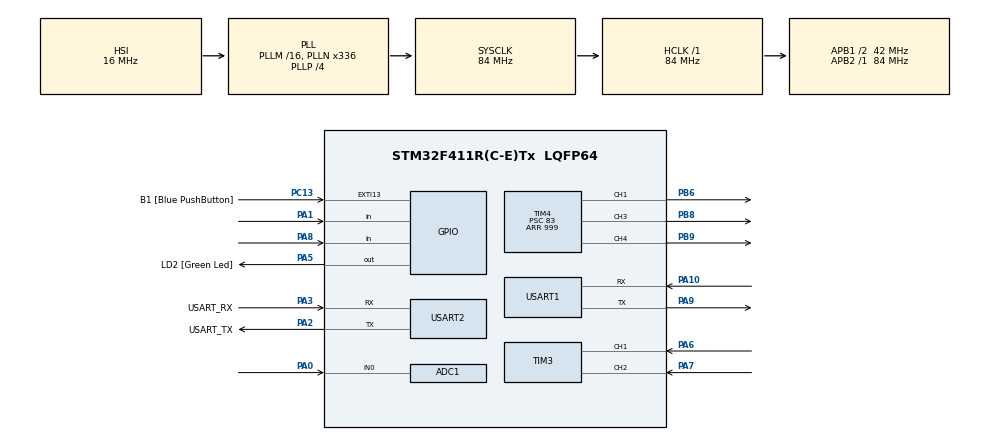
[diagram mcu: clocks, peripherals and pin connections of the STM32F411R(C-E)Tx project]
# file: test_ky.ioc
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ADC1.Channel-0\#ChannelRegularConversion=ADC_CHANNEL_0
ADC1.NbrOfConversionFlag=1
ADC1.Rank-0\#ChannelRegularConversion=1
ADC1.SamplingTime-0\#ChannelRegularConversion=ADC_SAMPLETIME_84CYCLES
ADC1.master=1
Mcu.Family=STM32F4
Mcu.Name=STM32F411R(C-E)Tx
Mcu.Package=LQFP64
NVIC.PriorityGroup=NVIC_PRIORITYGROUP_0
NVIC.USART1_IRQn=true\:0\:0\:false\:false\:true\:true\:true\:true
PA0-WKUP.Signal=ADCx_IN0
PA1.Signal=GPIO_Input
PA10.Mode=Asynchronous
PA10.Signal=USART1_RX
PA13.GPIO_Label=TMS
PA13.Mode=Serial_Wire
PA13.Signal=SYS_JTMS-SWDIO
PA14.GPIO_Label=TCK
PA14.Mode=Serial_Wire
PA14.Signal=SYS_JTCK-SWCLK
PA2.GPIO_Label=USART_TX
PA2.Mode=Asynchronous
PA2.Signal=USART2_TX
PA3.GPIO_Label=USART_RX
PA3.Mode=Asynchronous
PA3.Signal=USART2_RX
PA5.GPIO_Label=LD2 [Green Led]
PA5.Signal=GPIO_Output
PA6.Signal=S_TIM3_CH1
PA7.Signal=S_TIM3_CH2
PA8.GPIO_PuPd=GPIO_PULLUP
PA8.Signal=GPIO_Input
PA9.Mode=Asynchronous
PA9.Signal=USART1_TX
PB3.GPIO_Label=SWO
PB3.Signal=SYS_JTDO-SWO
PB6.Signal=S_TIM4_CH1
PB8.Signal=S_TIM4_CH3
PB9.Signal=S_TIM4_CH4
PC13-ANTI_TAMP.GPIO_Label=B1 [Blue PushButton]
PC13-ANTI_TAMP.GPIO_ModeDefaultEXTI=GPIO_MODE_IT_FALLING
PC13-ANTI_TAMP.Signal=GPXTI13
PC14-OSC32_IN.Mode=LSE-External-Oscillator
PC14-OSC32_IN.Signal=RCC_OSC32_IN
PC15-OSC32_OUT.Mode=LSE-External-Oscillator
PC15-OSC32_OUT.Signal=RCC_OSC32_OUT
PH0\ -\ OSC_IN.Mode=HSE-External-Clock-Source
PH0\ -\ OSC_IN.Signal=RCC_OSC_IN
PH1\ -\ OSC_OUT.Mode=HSE-External-Clock-Source
PH1\ -\ OSC_OUT.Signal=RCC_OSC_OUT
ProjectManager.HeapSize=0x200
ProjectManager.StackSize=0x400
ProjectManager.TargetToolchain=STM32CubeIDE
RCC.48MHZClocksFreq_Value=84000000
RCC.AHBFreq_Value=84000000
RCC.APB1CLKDivider=RCC_HCLK_DIV2
RCC.APB1Freq_Value=42000000
RCC.APB1TimFreq_Value=84000000
RCC.APB2Freq_Value=84000000
RCC.APB2TimFreq_Value=84000000
RCC.CortexFreq_Value=84000000
RCC.FLatency-AdvancedSettings=FLASH_LATENCY_2
RCC.HCLKFreq_Value=84000000
RCC.HSE_VALUE=8000000
RCC.HSI_VALUE=16000000
RCC.PLLN=336
RCC.PLLP=RCC_PLLP_DIV4
RCC.SYSCLKFreq_VALUE=84000000
RCC.SYSCLKSource=RCC_SYSCLKSOURCE_PLLCLK
RCC.VCOOutputFreq_Value=336000000
SH.ADCx_IN0.0=ADC1_IN0,IN0
SH.S_TIM3_CH1.0=TIM3_CH1,Encoder_Interface
SH.S_TIM3_CH2.0=TIM3_CH2,Encoder_Interface
SH.S_TIM4_CH1.0=TIM4_CH1,PWM Generation1 CH1
SH.S_TIM4_CH3.0=TIM4_CH3,PWM Generation3 CH3
SH.S_TIM4_CH4.0=TIM4_CH4,PWM Generation4 CH4
TIM3.EncoderMode=TIM_ENCODERMODE_TI12
TIM3.IC1Filter=15
TIM4.Channel-PWM\ Generation1\ CH1=TIM_CHANNEL_1
TIM4.Channel-PWM\ Generation3\ CH3=TIM_CHANNEL_3
TIM4.Channel-PWM\ Generation4\ CH4=TIM_CHANNEL_4
TIM4.Period=999
TIM4.Prescaler=83
USART1.VirtualMode=VM_ASYNC
USART2.VirtualMode=VM_ASYNC
board=NUCLEO-F411RE

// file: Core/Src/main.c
/* USER CODE BEGIN Header */
/**
  ******************************************************************************
  * @file           : main.c
  * @brief          : Main program body
  ******************************************************************************
  * @attention
  *
  * Copyright (c) 2026 STMicroelectronics.
  * All rights reserved.
  *
  * This software is licensed under terms that can be found in the LICENSE file
  * in the root directory of this software component.
  * If no LICENSE file comes with this software, it is provided AS-IS.
  *
  ******************************************************************************
  */
/* USER CODE END Header */
#include "main.h"

/* USER CODE BEGIN Includes */
#include <stdio.h>
#include <stdint.h>
#include <string.h>
#include <stdlib.h>
/* USER CODE END Includes */

/* USER CODE BEGIN PD */
#define PWM_MAX              999U
/* บนไฟ 3.3V ขา R (Vf ~2.0V) สว่างกว่า G (Vf ~3.0V)
   จึงหรี่ R ลงตอนผสมสีเหลือง เพื่อไม่ให้เพี้ยนเป็นสีส้ม/แดง */
#define YELLOW_R_DUTY        250U
#define YELLOW_G_DUTY        999U
#define MIC_SAMPLE_WINDOW_MS 50U     /* เก็บ Peak-to-Peak ทุก 50 ms */
#define ALERT_BLINK_MS       250U    /* กระพริบแดงทุก 250 ms */
#define ALERT_HOLD_MS        1200U   /* ค้างสถานะเตือนเมื่อเสียงดังเกินเกณฑ์ */
#define WARN_HOLD_MS         600U    /* ค้างสถานะเริ่มดังกันไฟกระพริบถี่ */
#define DEFAULT_ALERT_TH     400     /* เกณฑ์เสียงดังเกินกำหนดเริ่มต้น (0-4095) */
#define MIN_ALERT_TH         100
#define MAX_ALERT_TH         4000
/* ---- Roar Games (web game mode) ---- */
#define GAME_MIN_HOLD_MS     200U    /* ต้องดังเกินเกณฑ์รวม >= 0.2 s ถึงผ่าน (กันตบมือ) */
#define GAME_FADE_MS         3000U   /* ไฟเหลืองค่อยๆ ดับก่อนเริ่มคำราม */
#define GAME_MIN_ROAR_MS     500
#define GAME_MAX_ROAR_MS     10000
#define STAT_PERIOD_FOCUS_MS 500U
#define STAT_PERIOD_GAME_MS  100U    /* ส่ง STAT ถี่ขึ้นตอนเล่นเกม ให้เกจบนเว็บลื่น */
#define ENC_STEP_TH          25      /* หมุน KY-040 1 กิ๊ก ปรับเกณฑ์ทีละ 25 */
/* ตั้งเป็น 1 ถ้าปรับ pot สีฟ้าบน KY-037 แล้วและอยากให้ D0=0 ทริกเกอร์แดงด้วย */
#define USE_MIC_D0_TRIGGER   0
/* USER CODE END PD */

ADC_HandleTypeDef hadc1;

TIM_HandleTypeDef htim3;
TIM_HandleTypeDef htim4;

UART_HandleTypeDef huart1;
UART_HandleTypeDef huart2;

/* USER CODE BEGIN PV */
static uint8_t  u1_rx_byte = 0;
static char     u1_rx_buf[64];
static uint16_t u1_rx_idx = 0;
static volatile uint8_t u1_cmd_ready = 0;
/* USER CODE END PV */

void SystemClock_Config(void);
static void MX_GPIO_Init(void);
static void MX_USART2_UART_Init(void);
static void MX_ADC1_Init(void);
static void MX_TIM3_Init(void);
static void MX_TIM4_Init(void);
static void MX_USART1_UART_Init(void);

/* USER CODE BEGIN 0 */
typedef enum {
  FOCUS_QUIET = 0,
  FOCUS_WARN,
  FOCUS_ALERT
} FocusState_t;
typedef enum {
  GLED_OFF = 0,
  GLED_YELLOW,       /* LED,Y   : พร้อมเล่น / เปลี่ยนตา */
  GLED_YELLOW_FADE,  /* LED,F   : เหลืองค่อยๆ ดับใน 3 s (นับถอยหลัง) */
  GLED_GREEN,        /* LED,G   : ผ่านเกณฑ์ */
  GLED_RED,          /* LED,R   : ไม่ผ่าน (กระพริบ) */
  GLED_LISTEN        /* ระหว่าง ROAR: น้ำเงินหรี่ / เขียวเมื่อดังเกินเกณฑ์ */
} GameLed_t;
static void RGB_Set(uint16_t r, uint16_t g, uint16_t b)
{
  if (r > PWM_MAX) r = PWM_MAX;
  if (g > PWM_MAX) g = PWM_MAX;
  if (b > PWM_MAX) b = PWM_MAX;
  __HAL_TIM_SET_COMPARE(&htim4, TIM_CHANNEL_1, r); /* PB6: R */
  __HAL_TIM_SET_COMPARE(&htim4, TIM_CHANNEL_3, g); /* PB8: G */
  __HAL_TIM_SET_COMPARE(&htim4, TIM_CHANNEL_4, b); /* PB9: B */
}
static uint16_t Mic_ReadPeakToPeak(uint32_t window_ms)
{
  uint32_t t_start = HAL_GetTick();
  uint16_t min_val = 4095;
  uint16_t max_val = 0;
  while ((HAL_GetTick() - t_start) < window_ms)
  {
    HAL_ADC_Start(&hadc1);
    if (HAL_ADC_PollForConversion(&hadc1, 5) == HAL_OK)
    {
      uint16_t val = (uint16_t)HAL_ADC_GetValue(&hadc1);
      if (val < min_val) min_val = val;
      if (val > max_val) max_val = val;
    }
    HAL_ADC_Stop(&hadc1);
  }
  return (max_val >= min_val) ? (max_val - min_val) : 0;
}
/* USER CODE END 0 */

int main(void)
{

  /* MCU Configuration--------------------------------------------------------*/

  /* Reset of all peripherals, Initializes the Flash interface and the Systick. */
  HAL_Init();

  /* Configure the system clock */
  SystemClock_Config();

  /* Initialize all configured peripherals */
  MX_GPIO_Init();
  MX_USART2_UART_Init();
  MX_ADC1_Init();
  MX_TIM3_Init();
  MX_TIM4_Init();
  MX_USART1_UART_Init();
  /* USER CODE BEGIN 2 */
  HAL_TIM_Encoder_Start(&htim3, TIM_CHANNEL_ALL);
    HAL_TIM_PWM_Start(&htim4, TIM_CHANNEL_1);
    HAL_TIM_PWM_Start(&htim4, TIM_CHANNEL_3);
    HAL_TIM_PWM_Start(&htim4, TIM_CHANNEL_4);
    RGB_Set(0, 0, 0);
    int32_t alert_threshold = DEFAULT_ALERT_TH;
    int32_t warn_threshold = alert_threshold / 2;
    uint16_t prev_enc_cnt = (uint16_t)__HAL_TIM_GET_COUNTER(&htim3);
    int32_t enc_accum = 0;
    uint8_t prev_sw = GPIO_PIN_SET;
    uint32_t last_sw_ms = 0;
    uint32_t alert_until_ms = 0;
    uint32_t warn_until_ms = 0;
    uint32_t last_blink_ms = 0;
    uint8_t blink_on = 0;
    uint32_t last_log_ms = 0;
    FocusState_t state = FOCUS_QUIET;
    FocusState_t prev_state = FOCUS_QUIET;
    HAL_UART_Receive_IT(&huart1, &u1_rx_byte, 1);
      uint32_t last_esp_tx_ms = 0;
    /* Roar Games */
    uint8_t   game_mode = 0;          /* 0 = Focus monitor, 1 = Web game */
    GameLed_t game_led = GLED_OFF;
    uint32_t  game_led_t0 = 0;
    uint8_t   roar_active = 0;
    uint32_t  roar_end_ms = 0;
    int32_t   roar_th = 0;
    uint16_t  roar_peak = 0;
    uint32_t  roar_hold_ms = 0;
  /* USER CODE END 2 */

  /* Infinite loop */
  /* USER CODE BEGIN WHILE */
  while (1)
  {
	  /* 1. อ่าน KY-040 หมุนปรับเกณฑ์เสียง */
	      uint16_t curr_enc_cnt = (uint16_t)__HAL_TIM_GET_COUNTER(&htim3);
	      int16_t enc_delta = (int16_t)(uint16_t)(curr_enc_cnt - prev_enc_cnt);
	      prev_enc_cnt = curr_enc_cnt;
	      if (enc_delta != 0)
	      {
	        enc_accum += enc_delta;
	        int32_t detents = enc_accum / 2; /* จาก test_ky_040: 1 กิ๊ก = 2 counts */
	        enc_accum %= 2;
	        if (detents != 0)
	        {
	          alert_threshold += detents * ENC_STEP_TH;
	          if (alert_threshold < MIN_ALERT_TH) alert_threshold = MIN_ALERT_TH;
	          if (alert_threshold > MAX_ALERT_TH) alert_threshold = MAX_ALERT_TH;
	          warn_threshold = alert_threshold / 2;
	        }
	      }
	      /* 2. อ่านปุ่ม SW (PA8, Active-Low) -> กดเพื่อรีเซ็ตเกณฑ์กลับค่าเริ่มต้น */
	      uint8_t curr_sw = HAL_GPIO_ReadPin(GPIOA, GPIO_PIN_8);
	      uint32_t now = HAL_GetTick();
	      if (prev_sw == GPIO_PIN_SET && curr_sw == GPIO_PIN_RESET && (now - last_sw_ms) > 200U)
	      {
	        last_sw_ms = now;
	        if (game_mode)
	        {
	          /* โหมดเกม: ปุ่มใช้ "เริ่มตานี้" -> แจ้งเว็บผ่าน ESP32 */
	          const char *btn = "BTN\n";
	          HAL_UART_Transmit(&huart1, (uint8_t *)btn, (uint16_t)strlen(btn), 50);
	          { const char *bl = "[KY-040 SW] BTN -> web\r\n"; HAL_UART_Transmit(&huart2, (uint8_t *)bl, (uint16_t)strlen(bl), 100); }
	        }
	        else
	        {
	        alert_threshold = DEFAULT_ALERT_TH;
	        warn_threshold = alert_threshold / 2;
	        /* กระพริบสีน้ำเงินสั้นๆ ยืนยันการกดปุ่ม */
	        RGB_Set(0, 0, PWM_MAX);
	        HAL_Delay(120);
	        char reset_msg[64];
	        int n = snprintf(reset_msg, sizeof(reset_msg),
	                         "[KY-040 SW] Reset alert_th -> %ld\r\n", (long)alert_threshold);
	        HAL_UART_Transmit(&huart2, (uint8_t *)reset_msg, (uint16_t)n, 100);
	        }
	      }
	      prev_sw = curr_sw;
	      /* 3. อ่าน KY-037: A0 (Peak-to-Peak 50 ms) และ D0 (PA1) */
	      uint16_t amp = Mic_ReadPeakToPeak(MIC_SAMPLE_WINDOW_MS);
	      uint8_t d0 = (uint8_t)HAL_GPIO_ReadPin(GPIOA, GPIO_PIN_1);
	      now = HAL_GetTick();
	      /* 4. ตัดสินสถานะ Focus Mode พร้อม Hold Time */
	      uint8_t is_over_alert = (amp >= (uint16_t)alert_threshold)
	                              || (USE_MIC_D0_TRIGGER && d0 == GPIO_PIN_RESET);
	      uint8_t is_warn = (amp >= (uint16_t)warn_threshold);
	      if (is_over_alert)
	      {
	        alert_until_ms = now + ALERT_HOLD_MS;
	        warn_until_ms = now + WARN_HOLD_MS;
	      }
	      else if (is_warn)
	      {
	        warn_until_ms = now + WARN_HOLD_MS;
	      }
	      if ((int32_t)(alert_until_ms - now) > 0)
	      {
	        state = FOCUS_ALERT;
	      }
	      else if ((int32_t)(warn_until_ms - now) > 0)
	      {
	        state = FOCUS_WARN;
	      }
	      else
	      {
	        state = FOCUS_QUIET;
	      }
	      /* 4b. Roar Games: เก็บ peak / เวลาที่ดังเกินเกณฑ์ ระหว่างช่วงคำราม */
	      if (roar_active)
	      {
	        if (amp > roar_peak) roar_peak = amp;
	        if (amp >= (uint16_t)roar_th) roar_hold_ms += MIC_SAMPLE_WINDOW_MS;
	        if ((int32_t)(now - roar_end_ms) >= 0)
	        {
	          roar_active = 0;
	          uint8_t pass = (roar_peak >= (uint16_t)roar_th) && (roar_hold_ms >= GAME_MIN_HOLD_MS);
	          game_led = pass ? GLED_GREEN : GLED_RED;
	          game_led_t0 = now;
	          char res[48];
	          int rlen = snprintf(res, sizeof(res), "RES,%u,%lu,%u\n",
	                              roar_peak, (unsigned long)roar_hold_ms, pass);
	          HAL_UART_Transmit(&huart1, (uint8_t *)res, (uint16_t)rlen, 50);
	          HAL_UART_Transmit(&huart2, (uint8_t *)res, (uint16_t)rlen, 50);
	        }
	      }
	      /* 5. ขับสี KY-009 RGB LED (โหมดเกม: เว็บเป็นคนสั่งสีไฟ) */
	      if (game_mode)
	      {
	        uint32_t el = now - game_led_t0;
	        switch (game_led)
	        {
	          case GLED_YELLOW:
	            RGB_Set(YELLOW_R_DUTY, YELLOW_G_DUTY, 0);
	            break;
	          case GLED_YELLOW_FADE:
	            if (el >= GAME_FADE_MS) RGB_Set(0, 0, 0);
	            else
	            {
	              uint32_t k = GAME_FADE_MS - el;
	              RGB_Set((uint16_t)(YELLOW_R_DUTY * k / GAME_FADE_MS),
	                      (uint16_t)(YELLOW_G_DUTY * k / GAME_FADE_MS), 0);
	            }
	            break;
	          case GLED_GREEN:
	            RGB_Set(0, PWM_MAX, 0);
	            break;
	          case GLED_RED:
	            RGB_Set(((el / ALERT_BLINK_MS) % 2U) == 0U ? PWM_MAX : 0, 0, 0);
	            break;
	          case GLED_LISTEN:
	            if (amp >= (uint16_t)roar_th) RGB_Set(0, PWM_MAX, 0);
	            else RGB_Set(0, 0, 250);
	            break;
	          default:
	            RGB_Set(0, 0, 0);
	            break;
	        }
	      }
	      else
	      switch (state)
	      {
	        case FOCUS_QUIET:
	          blink_on = 0;
	          RGB_Set(0, PWM_MAX, 0); /* เขียว */
	          break;
	        case FOCUS_WARN:
	          blink_on = 0;
	          RGB_Set(YELLOW_R_DUTY, YELLOW_G_DUTY, 0); /* เหลือง */
	          break;
	        case FOCUS_ALERT:
	          if (prev_state != FOCUS_ALERT)
	          {
	            blink_on = 1;
	            last_blink_ms = now;
	          }
	          else if ((now - last_blink_ms) >= ALERT_BLINK_MS)
	          {
	            last_blink_ms = now;
	            blink_on = !blink_on;
	          }
	          RGB_Set(blink_on ? PWM_MAX : 0, 0, 0); /* แดงกระพริบเตือน */
	          break;
	      }
	      prev_state = state;
	      /* 6. แสดงผล Debug ผ่าน USART2 (115200 baud) ทุก 200 ms */
	      if ((now - last_log_ms) >= 200U)
	      {
	        last_log_ms = now;
	        const char *state_str = (state == FOCUS_QUIET) ? "QUIET(GREEN)" :
	                                (state == FOCUS_WARN)  ? "LOUD(YELLOW)" :
	                                                         "ALERT(RED_BLINK)";
	        char log_buf[128];
	        int len = snprintf(log_buf, sizeof(log_buf),
	                           "amp=%4u | d0=%u | warn_th=%ld | alert_th=%ld | state=%s\r\n",
	                           amp, d0, (long)warn_threshold, (long)alert_threshold, state_str);
	        HAL_UART_Transmit(&huart2, (uint8_t *)log_buf, (uint16_t)len, 100);
	      }
	      /* 7. รับคำสั่งจาก ESP32-S3 (USART1) */
	          if (u1_cmd_ready)
	          {
	            if (strcmp(u1_rx_buf, "PING") == 0)
	            {
	              const char *pong = "PONG\n";
	              HAL_UART_Transmit(&huart1, (uint8_t *)pong, (uint16_t)strlen(pong), 50);
	            }
	            else if (strncmp(u1_rx_buf, "SET_TH,", 7) == 0)
	            {
	              int32_t new_th = atoi(&u1_rx_buf[7]);
	              if (new_th < MIN_ALERT_TH) new_th = MIN_ALERT_TH;
	              if (new_th > MAX_ALERT_TH) new_th = MAX_ALERT_TH;
	              alert_threshold = new_th;
	              warn_threshold = alert_threshold / 2;
	              char ack[48];
	              int alen = snprintf(ack, sizeof(ack), "ACK,SET_TH,%ld\n", (long)alert_threshold);
	              HAL_UART_Transmit(&huart1, (uint8_t *)ack, (uint16_t)alen, 50);
	            }
	            else if (strncmp(u1_rx_buf, "GAME,", 5) == 0)
	            {
	              /* GAME,1 = เข้าโหมดเกม, GAME,0 = กลับโหมด Focus */
	              game_mode = (atoi(&u1_rx_buf[5]) != 0);
	              game_led = GLED_OFF;
	              game_led_t0 = now;
	              roar_active = 0;
	              char ack[24];
	              int alen = snprintf(ack, sizeof(ack), "ACK,GAME,%u\n", game_mode);
	              HAL_UART_Transmit(&huart1, (uint8_t *)ack, (uint16_t)alen, 50);
	            }
	            else if (strncmp(u1_rx_buf, "LED,", 4) == 0)
	            {
	              const char *m = &u1_rx_buf[4];
	              game_led = (strcmp(m, "Y") == 0) ? GLED_YELLOW :
	                         (strcmp(m, "F") == 0) ? GLED_YELLOW_FADE :
	                         (strcmp(m, "G") == 0) ? GLED_GREEN :
	                         (strcmp(m, "R") == 0) ? GLED_RED : GLED_OFF;
	              game_led_t0 = now;
	              game_mode = 1;
	            }
	            else if (strncmp(u1_rx_buf, "ROAR,", 5) == 0)
	            {
	              /* ROAR,<threshold>,<window_ms> -> เริ่มจับเสียงคำราม แล้วตอบ RES,<peak>,<hold_ms>,<pass> */
	              char *endp = NULL;
	              int32_t th = strtol(&u1_rx_buf[5], &endp, 10);
	              int32_t ms = (endp && *endp == ',') ? strtol(endp + 1, NULL, 10) : 3000;
	              if (th < MIN_ALERT_TH) th = MIN_ALERT_TH;
	              if (th > MAX_ALERT_TH) th = MAX_ALERT_TH;
	              if (ms < GAME_MIN_ROAR_MS) ms = GAME_MIN_ROAR_MS;
	              if (ms > GAME_MAX_ROAR_MS) ms = GAME_MAX_ROAR_MS;
	              game_mode = 1;
	              roar_th = th;
	              roar_peak = 0;
	              roar_hold_ms = 0;
	              roar_end_ms = now + (uint32_t)ms;
	              roar_active = 1;
	              game_led = GLED_LISTEN;
	              game_led_t0 = now;
	              char ack[40];
	              int alen = snprintf(ack, sizeof(ack), "ACK,ROAR,%ld,%ld\n", (long)th, (long)ms);
	              HAL_UART_Transmit(&huart1, (uint8_t *)ack, (uint16_t)alen, 50);
	            }
	            else if (strcmp(u1_rx_buf, "ROAR_STOP") == 0)
	            {
	              roar_active = 0;
	              game_led = GLED_OFF;
	            }
	            u1_cmd_ready = 0;
	          }
	          /* 8. ส่งสถานะ Focus Mode ไป ESP32-S3 ทุก 500 ms */
	          if ((now - last_esp_tx_ms) >= (game_mode ? STAT_PERIOD_GAME_MS : STAT_PERIOD_FOCUS_MS))
	          {
	            last_esp_tx_ms = now;
	            char esp_buf[64];
	            int elen = snprintf(esp_buf, sizeof(esp_buf),
	                                "STAT,%u,%ld,%ld,%d\n",
	                                amp, (long)warn_threshold, (long)alert_threshold, (int)state);
	            HAL_UART_Transmit(&huart1, (uint8_t *)esp_buf, (uint16_t)elen, 50);
	          }
    /* USER CODE END WHILE */

  }
}

void SystemClock_Config(void)
{
  RCC_OscInitTypeDef RCC_OscInitStruct = {0};
  RCC_ClkInitTypeDef RCC_ClkInitStruct = {0};

  /** Configure the main internal regulator output voltage
  */
  __HAL_RCC_PWR_CLK_ENABLE();
  __HAL_PWR_VOLTAGESCALING_CONFIG(PWR_REGULATOR_VOLTAGE_SCALE1);

  /** Initializes the RCC Oscillators according to the specified parameters
  * in the RCC_OscInitTypeDef structure.
  */
  RCC_OscInitStruct.OscillatorType = RCC_OSCILLATORTYPE_HSI;
  RCC_OscInitStruct.HSIState = RCC_HSI_ON;
  RCC_OscInitStruct.HSICalibrationValue = RCC_HSICALIBRATION_DEFAULT;
  RCC_OscInitStruct.PLL.PLLState = RCC_PLL_ON;
  RCC_OscInitStruct.PLL.PLLSource = RCC_PLLSOURCE_HSI;
  RCC_OscInitStruct.PLL.PLLM = 16;
  RCC_OscInitStruct.PLL.PLLN = 336;
  RCC_OscInitStruct.PLL.PLLP = RCC_PLLP_DIV4;
  RCC_OscInitStruct.PLL.PLLQ = 4;
  if (HAL_RCC_OscConfig(&RCC_OscInitStruct) != HAL_OK)
  {
    Error_Handler();
  }

  /** Initializes the CPU, AHB and APB buses clocks
  */
  RCC_ClkInitStruct.ClockType = RCC_CLOCKTYPE_HCLK|RCC_CLOCKTYPE_SYSCLK
                              |RCC_CLOCKTYPE_PCLK1|RCC_CLOCKTYPE_PCLK2;
  RCC_ClkInitStruct.SYSCLKSource = RCC_SYSCLKSOURCE_PLLCLK;
  RCC_ClkInitStruct.AHBCLKDivider = RCC_SYSCLK_DIV1;
  RCC_ClkInitStruct.APB1CLKDivider = RCC_HCLK_DIV2;
  RCC_ClkInitStruct.APB2CLKDivider = RCC_HCLK_DIV1;

  if (HAL_RCC_ClockConfig(&RCC_ClkInitStruct, FLASH_LATENCY_2) != HAL_OK)
  {
    Error_Handler();
  }
}

static void MX_ADC1_Init(void)
{

  ADC_ChannelConfTypeDef sConfig = {0};

  /** Configure the global features of the ADC (Clock, Resolution, Data Alignment and number of conversion)
  */
  hadc1.Instance = ADC1;
  hadc1.Init.ClockPrescaler = ADC_CLOCK_SYNC_PCLK_DIV4;
  hadc1.Init.Resolution = ADC_RESOLUTION_12B;
  hadc1.Init.ScanConvMode = DISABLE;
  hadc1.Init.ContinuousConvMode = DISABLE;
  hadc1.Init.DiscontinuousConvMode = DISABLE;
  hadc1.Init.ExternalTrigConvEdge = ADC_EXTERNALTRIGCONVEDGE_NONE;
  hadc1.Init.ExternalTrigConv = ADC_SOFTWARE_START;
  hadc1.Init.DataAlign = ADC_DATAALIGN_RIGHT;
  hadc1.Init.NbrOfConversion = 1;
  hadc1.Init.DMAContinuousRequests = DISABLE;
  hadc1.Init.EOCSelection = ADC_EOC_SINGLE_CONV;
  if (HAL_ADC_Init(&hadc1) != HAL_OK)
  {
    Error_Handler();
  }

  /** Configure for the selected ADC regular channel its corresponding rank in the sequencer and its sample time.
  */
  sConfig.Channel = ADC_CHANNEL_0;
  sConfig.Rank = 1;
  sConfig.SamplingTime = ADC_SAMPLETIME_84CYCLES;
  if (HAL_ADC_ConfigChannel(&hadc1, &sConfig) != HAL_OK)
  {
    Error_Handler();
  }

}

static void MX_TIM3_Init(void)
{

  TIM_Encoder_InitTypeDef sConfig = {0};
  TIM_MasterConfigTypeDef sMasterConfig = {0};

  htim3.Instance = TIM3;
  htim3.Init.Prescaler = 0;
  htim3.Init.CounterMode = TIM_COUNTERMODE_UP;
  htim3.Init.Period = 65535;
  htim3.Init.ClockDivision = TIM_CLOCKDIVISION_DIV1;
  htim3.Init.AutoReloadPreload = TIM_AUTORELOAD_PRELOAD_DISABLE;
  sConfig.EncoderMode = TIM_ENCODERMODE_TI12;
  sConfig.IC1Polarity = TIM_ICPOLARITY_RISING;
  sConfig.IC1Selection = TIM_ICSELECTION_DIRECTTI;
  sConfig.IC1Prescaler = TIM_ICPSC_DIV1;
  sConfig.IC1Filter = 15;
  sConfig.IC2Polarity = TIM_ICPOLARITY_RISING;
  sConfig.IC2Selection = TIM_ICSELECTION_DIRECTTI;
  sConfig.IC2Prescaler = TIM_ICPSC_DIV1;
  sConfig.IC2Filter = 0;
  if (HAL_TIM_Encoder_Init(&htim3, &sConfig) != HAL_OK)
  {
    Error_Handler();
  }
  sMasterConfig.MasterOutputTrigger = TIM_TRGO_RESET;
  sMasterConfig.MasterSlaveMode = TIM_MASTERSLAVEMODE_DISABLE;
  if (HAL_TIMEx_MasterConfigSynchronization(&htim3, &sMasterConfig) != HAL_OK)
  {
    Error_Handler();
  }

}

static void MX_TIM4_Init(void)
{

  TIM_MasterConfigTypeDef sMasterConfig = {0};
  TIM_OC_InitTypeDef sConfigOC = {0};

  htim4.Instance = TIM4;
  htim4.Init.Prescaler = 83;
  htim4.Init.CounterMode = TIM_COUNTERMODE_UP;
  htim4.Init.Period = 999;
  htim4.Init.ClockDivision = TIM_CLOCKDIVISION_DIV1;
  htim4.Init.AutoReloadPreload = TIM_AUTORELOAD_PRELOAD_DISABLE;
  if (HAL_TIM_PWM_Init(&htim4) != HAL_OK)
  {
    Error_Handler();
  }
  sMasterConfig.MasterOutputTrigger = TIM_TRGO_RESET;
  sMasterConfig.MasterSlaveMode = TIM_MASTERSLAVEMODE_DISABLE;
  if (HAL_TIMEx_MasterConfigSynchronization(&htim4, &sMasterConfig) != HAL_OK)
  {
    Error_Handler();
  }
  sConfigOC.OCMode = TIM_OCMODE_PWM1;
  sConfigOC.Pulse = 0;
  sConfigOC.OCPolarity = TIM_OCPOLARITY_HIGH;
  sConfigOC.OCFastMode = TIM_OCFAST_DISABLE;
  if (HAL_TIM_PWM_ConfigChannel(&htim4, &sConfigOC, TIM_CHANNEL_1) != HAL_OK)
  {
    Error_Handler();
  }
  if (HAL_TIM_PWM_ConfigChannel(&htim4, &sConfigOC, TIM_CHANNEL_3) != HAL_OK)
  {
    Error_Handler();
  }
  if (HAL_TIM_PWM_ConfigChannel(&htim4, &sConfigOC, TIM_CHANNEL_4) != HAL_OK)
  {
    Error_Handler();
  }
  HAL_TIM_MspPostInit(&htim4);

}

static void MX_USART1_UART_Init(void)
{

  huart1.Instance = USART1;
  huart1.Init.BaudRate = 115200;
  huart1.Init.WordLength = UART_WORDLENGTH_8B;
  huart1.Init.StopBits = UART_STOPBITS_1;
  huart1.Init.Parity = UART_PARITY_NONE;
  huart1.Init.Mode = UART_MODE_TX_RX;
  huart1.Init.HwFlowCtl = UART_HWCONTROL_NONE;
  huart1.Init.OverSampling = UART_OVERSAMPLING_16;
  if (HAL_UART_Init(&huart1) != HAL_OK)
  {
    Error_Handler();
  }

}

static void MX_USART2_UART_Init(void)
{

  huart2.Instance = USART2;
  huart2.Init.BaudRate = 115200;
  huart2.Init.WordLength = UART_WORDLENGTH_8B;
  huart2.Init.StopBits = UART_STOPBITS_1;
  huart2.Init.Parity = UART_PARITY_NONE;
  huart2.Init.Mode = UART_MODE_TX_RX;
  huart2.Init.HwFlowCtl = UART_HWCONTROL_NONE;
  huart2.Init.OverSampling = UART_OVERSAMPLING_16;
  if (HAL_UART_Init(&huart2) != HAL_OK)
  {
    Error_Handler();
  }

}

static void MX_GPIO_Init(void)
{
  GPIO_InitTypeDef GPIO_InitStruct = {0};

  /* GPIO Ports Clock Enable */
  __HAL_RCC_GPIOC_CLK_ENABLE();
  __HAL_RCC_GPIOH_CLK_ENABLE();
  __HAL_RCC_GPIOA_CLK_ENABLE();
  __HAL_RCC_GPIOB_CLK_ENABLE();

  /*Configure GPIO pin Output Level */
  HAL_GPIO_WritePin(LD2_GPIO_Port, LD2_Pin, GPIO_PIN_RESET);

  /*Configure GPIO pin : B1_Pin */
  GPIO_InitStruct.Pin = B1_Pin;
  GPIO_InitStruct.Mode = GPIO_MODE_IT_FALLING;
  GPIO_InitStruct.Pull = GPIO_NOPULL;
  HAL_GPIO_Init(B1_GPIO_Port, &GPIO_InitStruct);

  /*Configure GPIO pin : PA1 */
  GPIO_InitStruct.Pin = GPIO_PIN_1;
  GPIO_InitStruct.Mode = GPIO_MODE_INPUT;
  GPIO_InitStruct.Pull = GPIO_NOPULL;
  HAL_GPIO_Init(GPIOA, &GPIO_InitStruct);

  /*Configure GPIO pin : LD2_Pin */
  GPIO_InitStruct.Pin = LD2_Pin;
  GPIO_InitStruct.Mode = GPIO_MODE_OUTPUT_PP;
  GPIO_InitStruct.Pull = GPIO_NOPULL;
  GPIO_InitStruct.Speed = GPIO_SPEED_FREQ_LOW;
  HAL_GPIO_Init(LD2_GPIO_Port, &GPIO_InitStruct);

  /*Configure GPIO pin : PA8 */
  GPIO_InitStruct.Pin = GPIO_PIN_8;
  GPIO_InitStruct.Mode = GPIO_MODE_INPUT;
  GPIO_InitStruct.Pull = GPIO_PULLUP;
  HAL_GPIO_Init(GPIOA, &GPIO_InitStruct);

}

/* USER CODE BEGIN 4 */
void HAL_UART_RxCpltCallback(UART_HandleTypeDef *huart)
{
  if (huart->Instance == USART1)
  {
    if (!u1_cmd_ready)
    {
      if (u1_rx_byte == '\n')
      {
        u1_rx_buf[u1_rx_idx] = '\0';
        u1_rx_idx = 0;
        u1_cmd_ready = 1;
      }
      else if (u1_rx_byte != '\r')
      {
        if (u1_rx_idx < (sizeof(u1_rx_buf) - 1U))
        {
          u1_rx_buf[u1_rx_idx++] = (char)u1_rx_byte;
        }
        else
        {
          u1_rx_idx = 0;
        }
      }
    }
    HAL_UART_Receive_IT(&huart1, &u1_rx_byte, 1);
  }
}
void HAL_UART_ErrorCallback(UART_HandleTypeDef *huart)
{
  if (huart->Instance == USART1)
  {
    u1_rx_idx = 0;
    HAL_UART_Receive_IT(&huart1, &u1_rx_byte, 1);
  }
}
/* USER CODE END 4 */

void Error_Handler(void)
{
  __disable_irq();
  while (1)
  {
  }
}
